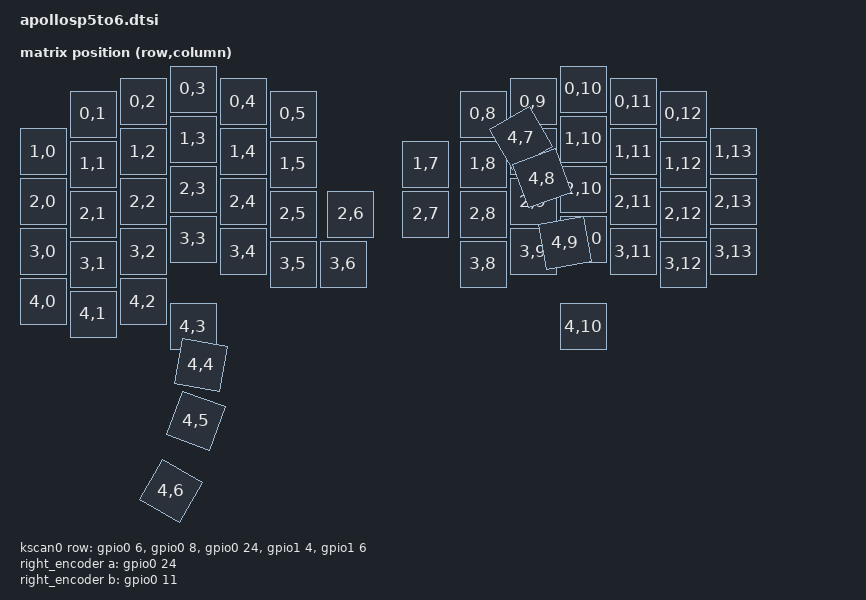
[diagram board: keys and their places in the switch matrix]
#include <dt-bindings/zmk/matrix_transform.h>
#include <physical_layouts.dtsi>
#include <dt-bindings/zmk/mouse.h>

/ {
    chosen {
        zmk,kscan = &kscan0;
        zmk,physical-layout = &physical_layout0;
    };

    vbatt: vbatt {
        compatible = "zmk,battery-nrf-vddh";
    };

    physical_layout0: physical_layout0 {
        compatible = "zmk,physical-layout";
        display-name = "Default Layout";
        transform = <&default_transform>;
        keys = <&key_physical_attrs 100 100 100 25 0 0 0>    // [0,1]
             , <&key_physical_attrs 100 100 200 0 0 0 0>     // [0,2]
             , <&key_physical_attrs 100 100 300 (-25) 0 0 0> // [0,3]
             , <&key_physical_attrs 100 100 400 0 0 0 0>     // [0,4]
             , <&key_physical_attrs 100 100 500 25 0 0 0>    // [0,5]

             , <&key_physical_attrs 100 100 880 25 0 0 0>     // [0,8]
             , <&key_physical_attrs 100 100 980 0 0 0 0>      // [0,9]
             , <&key_physical_attrs 100 100 1080 (-25) 0 0 0> // [0,10]
             , <&key_physical_attrs 100 100 1180 0 0 0 0>     // [0,11]
             , <&key_physical_attrs 100 100 1280 25 0 0 0>    // [0,12]

             /* Row 1 */
             , <&key_physical_attrs 100 100 0 100 0 0 0>
             , <&key_physical_attrs 100 100 100 125 0 0 0>
             , <&key_physical_attrs 100 100 200 100 0 0 0>
             , <&key_physical_attrs 100 100 300 75 0 0 0>
             , <&key_physical_attrs 100 100 400 100 0 0 0>
             , <&key_physical_attrs 100 100 500 125 0 0 0>
//           , <&key_physical_attrs 100 100 615 125 0 0 0>

             , <&key_physical_attrs 100 100 765 125 0 0 0>
             , <&key_physical_attrs 100 100 880 125 0 0 0>
             , <&key_physical_attrs 100 100 980 100 0 0 0>
             , <&key_physical_attrs 100 100 1080 75 0 0 0>
             , <&key_physical_attrs 100 100 1180 100 0 0 0>
             , <&key_physical_attrs 100 100 1280 125 0 0 0>
             , <&key_physical_attrs 100 100 1380 100 0 0 0>

             /* Row 2 */
             , <&key_physical_attrs 100 100 0 200 0 0 0>
             , <&key_physical_attrs 100 100 100 225 0 0 0>
             , <&key_physical_attrs 100 100 200 200 0 0 0>
             , <&key_physical_attrs 100 100 300 175 0 0 0>
             , <&key_physical_attrs 100 100 400 200 0 0 0>
             , <&key_physical_attrs 100 100 500 225 0 0 0>
             , <&key_physical_attrs 100 100 615 225 0 0 0>

             , <&key_physical_attrs 100 100 765 225 0 0 0>
             , <&key_physical_attrs 100 100 880 225 0 0 0>
             , <&key_physical_attrs 100 100 980 200 0 0 0>
             , <&key_physical_attrs 100 100 1080 175 0 0 0>
             , <&key_physical_attrs 100 100 1180 200 0 0 0>
             , <&key_physical_attrs 100 100 1280 225 0 0 0>
             , <&key_physical_attrs 100 100 1380 200 0 0 0>

             /* Row 3 */
             , <&key_physical_attrs 100 100 0 300 0 0 0>
             , <&key_physical_attrs 100 100 100 325 0 0 0>
             , <&key_physical_attrs 100 100 200 300 0 0 0>
             , <&key_physical_attrs 100 100 300 275 0 0 0>
             , <&key_physical_attrs 100 100 400 300 0 0 0>
             , <&key_physical_attrs 100 100 500 325 0 0 0>
             , <&key_physical_attrs 100 100 600 325 0 0 0>

             , <&key_physical_attrs 100 100 880 325 0 0 0>
             , <&key_physical_attrs 100 100 980 300 0 0 0>
             , <&key_physical_attrs 100 100 1080 275 0 0 0>
             , <&key_physical_attrs 100 100 1180 300 0 0 0>
             , <&key_physical_attrs 100 100 1280 325 0 0 0>
             , <&key_physical_attrs 100 100 1380 300 0 0 0>

             /* Row 4: 親指 */
             /* 幅 高 X座標 Y座標 回転角 ラベルX ラベルY */
             , <&key_physical_attrs 100 100 0 400 0 0 0>
             , <&key_physical_attrs 100 100 100 425 0 0 0>
             , <&key_physical_attrs 100 100 200 400 0 0 0>
             , <&key_physical_attrs 100 100 300 450 (0) 0 0>
             , <&key_physical_attrs 100 100 410 455 (1000) 0 0>
             , <&key_physical_attrs 100 100 520 475 (2000) 0 0>
             , <&key_physical_attrs 100 100 630 515 (3000) 0 0>

             , <&key_physical_attrs 100 100 760 560 (-3000) 0 0>    // 565
             , <&key_physical_attrs 100 100 865 500 (-2000) 0 0>    // 515→520→500
             , <&key_physical_attrs 100 100 970 468 (-1000) 0 0>    // 475
             , <&key_physical_attrs 100 100 1080 450 (0) 0 0>;       // 450
    };

    default_transform: keymap_transform0 {
        compatible = "zmk,matrix-transform";
        columns = <14>;
        rows = <5>;
        map = <
                    RC(0,1) RC(0,2) RC(0,3) RC(0,4) RC(0,5)                     RC(0,8) RC(0,9) RC(0,10) RC(0,11) RC(0,12)
            RC(1,0) RC(1,1) RC(1,2) RC(1,3) RC(1,4) RC(1,5)             RC(1,7) RC(1,8) RC(1,9) RC(1,10) RC(1,11) RC(1,12) RC(1,13)
            RC(2,0) RC(2,1) RC(2,2) RC(2,3) RC(2,4) RC(2,5) RC(2,6)     RC(2,7) RC(2,8) RC(2,9) RC(2,10) RC(2,11) RC(2,12) RC(2,13)
            RC(3,0) RC(3,1) RC(3,2) RC(3,3) RC(3,4) RC(3,5) RC(3,6)             RC(3,8) RC(3,9) RC(3,10) RC(3,11) RC(3,12) RC(3,13)
            RC(4,0) RC(4,1) RC(4,2) RC(4,3) RC(4,4) RC(4,5) RC(4,6)     RC(4,7) RC(4,8) RC(4,9) RC(4,10)
        >;
    };

    kscan0: kscan {
        compatible = "zmk,kscan-gpio-matrix";
        wakeup-source;
        diode-direction = "col2row";
        row-gpios
            = <&gpio0 6  (GPIO_ACTIVE_LOW | GPIO_PULL_UP)>
            , <&gpio0 8  (GPIO_ACTIVE_LOW | GPIO_PULL_UP)>
            , <&gpio0 24 (GPIO_ACTIVE_LOW | GPIO_PULL_UP)>
            , <&gpio1 4  (GPIO_ACTIVE_LOW | GPIO_PULL_UP)>
            , <&gpio1 6  (GPIO_ACTIVE_LOW | GPIO_PULL_UP)>;
    };

    right_encoder: encoder_right {
        compatible = "alps,ec11";
        a-gpios = <&gpio0 24 (GPIO_ACTIVE_LOW | GPIO_PULL_UP)>;
        b-gpios = <&gpio0 11 (GPIO_ACTIVE_LOW | GPIO_PULL_UP)>;
        steps = <24>;
        status = "disabled";
    };

    sensors: sensors {
        compatible = "zmk,keymap-sensors";
        sensors = <&right_encoder>;
        triggers-per-rotation = <20>;
    };
};
